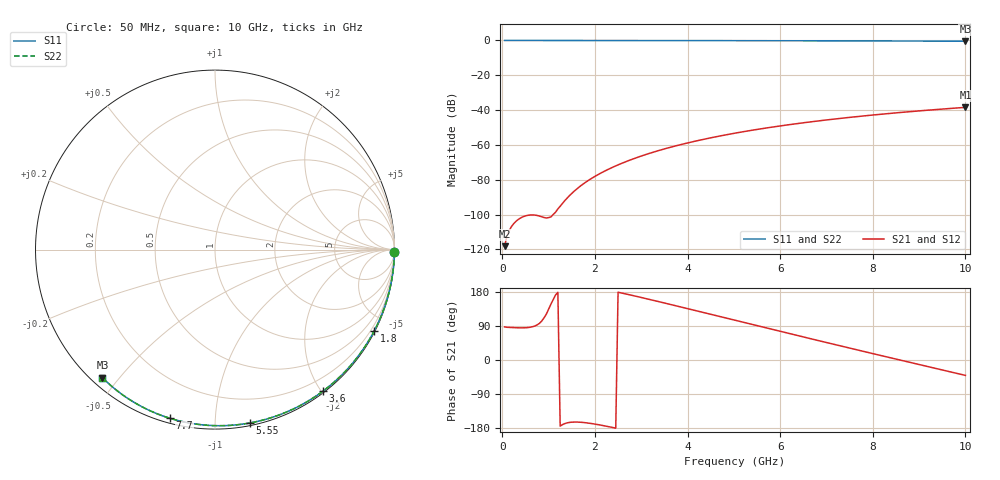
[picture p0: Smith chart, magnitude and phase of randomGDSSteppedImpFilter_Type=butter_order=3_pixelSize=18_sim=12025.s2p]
! freq	dB(S11)	phase(S11)	dB(S12)	phase(S12)
!  dB(S21)	phase(S21)	dB(S22)	phase(S22)
!S-par simulation data
#  GHz  S  DB  R 50
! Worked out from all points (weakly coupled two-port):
!   200 points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, 50 MHz to 10 GHz, reference 50 ohm
!   highest |S21| = -38.43 dB at 10 GHz (marker M1); lowest = -118.2 dB at 50 MHz (marker M2)
!   lowest |S11| = -0.4 dB at 10 GHz (marker M3), VSWR 39.09, Z = 1.54 - j22.6 ohm
!   |S11| at or under -10 dB: nowhere
!   |S22| runs from -0.4 to 0.0 dB; largest |S21 - S12| = 0
!   S11 on the Smith chart (normalised r, x): 50 MHz: open; 1.8 GHz: 0.04, -4.18; 3.6 GHz: 0.02, -2.02; 5.55 GHz: 0.02, -1.22; 7.7 GHz: 0.02, -0.77; 10 GHz: 0.03, -0.45
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0.05  -0.00 -0.8  -118.16 87.3  -118.16 87.3  -0.00 -0.8
0.9  -0.02 -13.6  -101.68 111.1  -101.68 111.1  -0.02 -13.6
1.75  -0.03 -26.2  -82.37 -164.9  -82.37 -164.9  -0.03 -26.2
1.8  -0.03 -26.9  -81.43 -165.6  -81.43 -165.6  -0.03 -26.9
1.85  -0.04 -27.6  -80.54 -166.3  -80.54 -166.3  -0.04 -27.6
1.9  -0.04 -28.4  -79.69 -167.2  -79.69 -167.2  -0.04 -28.4
2.05  -0.04 -30.6  -77.31 -170.2  -77.31 -170.2  -0.04 -30.6
2.25  -0.04 -33.5  -74.50 -174.8  -74.50 -174.8  -0.04 -33.5
2.45  -0.05 -36.4  -72.02 -179.8  -72.02 -179.8  -0.05 -36.4
2.65  -0.05 -39.2  -69.80 174.8  -69.80 174.8  -0.05 -39.2
3  -0.06 -44.2  -66.39 165.0  -66.39 165.0  -0.06 -44.2
3.4  -0.07 -49.8  -63.06 153.4  -63.06 153.4  -0.07 -49.8
3.6  -0.07 -52.6  -61.56 147.5  -61.56 147.5  -0.07 -52.6
4.3  -0.09 -62.2  -57.05 126.6  -57.05 126.6  -0.09 -62.2
5.05  -0.11 -72.1  -53.13 104.1  -53.13 104.1  -0.11 -72.1
5.55  -0.13 -78.6  -50.90 89.2  -50.90 89.2  -0.13 -78.6
6.1  -0.15 -85.6  -48.72 72.7  -48.72 72.7  -0.15 -85.6
6.7  -0.18 -93.0  -46.62 54.9  -46.62 54.9  -0.18 -93.0
7.7  -0.24 -105.0  -43.62 25.6  -43.62 25.6  -0.24 -105.0
8.35  -0.29 -112.6  -41.95 6.7  -41.95 6.7  -0.29 -112.5
9.15  -0.36 -121.7  -40.13 -16.3  -40.13 -16.3  -0.36 -121.7
10  -0.44 -131.3  -38.43 -40.6  -38.43 -40.6  -0.44 -131.3
